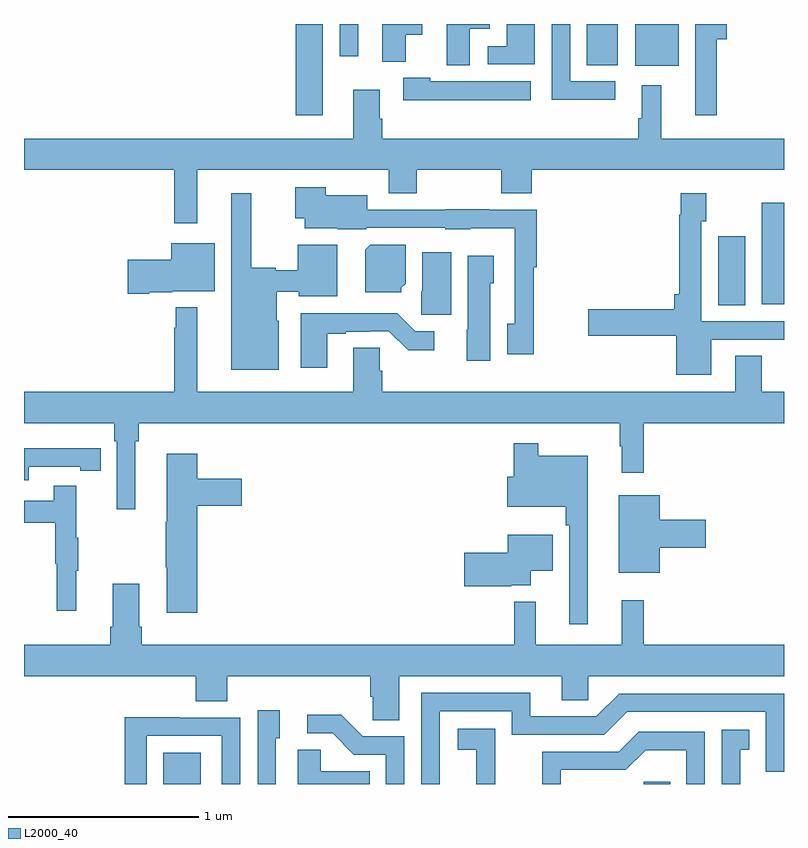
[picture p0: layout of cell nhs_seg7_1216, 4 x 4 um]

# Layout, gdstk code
import gdstk
lib = gdstk.Library(unit=1e-6, precision=1e-09)
def R(c, l, rs):  # rectangles x0, y0, x1, y1
    for r in rs: c.add(gdstk.rectangle(r[:2], r[2:], *l))
def P(c, l, *ps):  # polygons
    for p in ps: c.add(gdstk.Polygon(p, *l))
L2000_40 = (2000, 40)

nhs_seg7_1216 = lib.new_cell('nhs_seg7_1216')
R(nhs_seg7_1216, L2000_40, [(195.734,1048,195.931,1048.165), (198.261,1048,198.401,1048.011), (198.653,1050.52,198.796,1050.883), (198.884,1050.524,199,1051.06), (196.43,1051.521,196.573,1052), (198.218,1051.781,198.445,1052), (197.963,1051.783,198.124,1052), (196.662,1051.83,196.758,1052)])
P(nhs_seg7_1216, L2000_40, [(197.689,1052),(197.54,1052),(197.54,1051.884),(197.442,1051.884),(197.442,1051.788),(197.689,1051.788)],
  [(197.008,1051.943),(197.095,1051.943),(197.095,1052),(196.886,1052),(196.886,1051.802),(197.008,1051.802)],
  [(198.647,1051.919),(198.699,1051.919),(198.699,1052),(198.533,1052),(198.533,1051.521),(198.647,1051.521)],
  [(197.347,1051.976),(197.452,1051.976),(197.452,1052),(197.225,1052),(197.225,1051.784),(197.347,1051.784)],
  [(198.112,1051.698),(197.874,1051.698),(197.874,1052),(197.778,1052),(197.778,1051.601),(198.112,1051.601)],
  [(197.668,1051.699),(197.139,1051.699),(197.139,1051.717),(196.995,1051.717),(196.995,1051.598),(197.668,1051.598)],
  [(195.913,1051.232),(196.919,1051.232),(196.919,1051.108),(197.067,1051.108),(197.067,1051.232),(197.512,1051.232),(197.512,1051.108),(197.672,1051.108),(197.672,1051.232),(199,1051.232),(199,1051.396),(198.355,1051.396),(198.355,1051.678),(198.251,1051.678),(198.251,1051.505),(198.234,1051.505),(198.234,1051.396),(196.886,1051.396),(196.886,1051.502),(196.873,1051.502),(196.873,1051.654),(196.733,1051.654),(196.733,1051.396),(195,1051.396),(195,1051.232),(195.792,1051.232),(195.792,1050.951),(195.913,1050.951)],
  [(197.684,1050.72),(197.699,1050.72),(197.699,1051.023),(197.449,1051.023),(197.449,1051.025),(197.217,1051.025),(197.217,1051.023),(196.807,1051.023),(196.807,1051.099),(196.588,1051.099),(196.588,1051.141),(196.427,1051.141),(196.427,1050.977),(196.478,1050.977),(196.478,1050.926),(196.65,1050.926),(196.65,1050.92),(196.8,1050.92),(196.8,1050.927),(197.217,1050.927),(197.217,1050.92),(197.349,1050.92),(197.349,1050.926),(197.583,1050.926),(197.583,1050.422),(197.543,1050.422),(197.543,1050.261),(197.684,1050.261)],
  [(198.616,1050.339),(199,1050.339),(199,1050.435),(198.564,1050.435),(198.564,1050.963),(198.591,1050.963),(198.591,1051.108),(198.456,1051.108),(198.456,1050.995),(198.448,1050.995),(198.448,1050.577),(198.422,1050.577),(198.422,1050.5),(197.97,1050.5),(197.97,1050.358),(198.434,1050.358),(198.434,1050.155),(198.616,1050.155)],
  [(196.342,1050.438),(196.33,1050.438),(196.33,1050.591),(196.446,1050.591),(196.446,1050.566),(196.648,1050.566),(196.648,1050.838),(196.442,1050.838),(196.442,1050.705),(196.326,1050.705),(196.326,1050.716),(196.195,1050.716),(196.195,1051.108),(196.091,1051.108),(196.091,1050.179),(196.342,1050.179)],
  [(195.658,1050.587),(195.78,1050.587),(195.78,1050.593),(196.003,1050.593),(196.003,1050.847),(195.776,1050.847),(195.776,1050.759),(195.546,1050.759),(195.546,1050.581),(195.658,1050.581)],
  [(196.986,1050.612),(197.008,1050.634),(197.008,1050.838),(196.822,1050.838),(196.796,1050.812),(196.796,1050.587),(196.986,1050.587)],
  [(197.248,1050.799),(197.096,1050.799),(197.096,1050.594),(197.092,1050.594),(197.092,1050.471),(197.248,1050.471)],
  [(197.455,1050.636),(197.473,1050.636),(197.473,1050.781),(197.336,1050.781),(197.336,1050.39),(197.33,1050.39),(197.33,1050.228),(197.455,1050.228)],
  [(198.135,1049.777),(198.146,1049.777),(198.146,1049.637),(198.263,1049.637),(198.263,1049.9),(199,1049.9),(199,1050.064),(198.883,1050.064),(198.883,1050.254),(198.743,1050.254),(198.743,1050.064),(196.886,1050.064),(196.886,1050.174),(196.872,1050.174),(196.872,1050.296),(196.733,1050.296),(196.733,1050.064),(195.913,1050.064),(195.913,1050.508),(195.799,1050.508),(195.799,1050.401),(195.792,1050.401),(195.792,1050.064),(195,1050.064),(195,1049.9),(195.476,1049.9),(195.476,1049.804),(195.489,1049.804),(195.489,1049.445),(195.586,1049.445),(195.586,1049.804),(195.605,1049.804),(195.605,1049.9),(198.135,1049.9)],
  [(196.597,1050.369),(196.693,1050.369),(196.693,1050.381),(196.82,1050.381),(196.82,1050.384),(196.92,1050.384),(197.023,1050.282),(197.158,1050.282),(197.158,1050.384),(197.058,1050.384),(196.964,1050.478),(196.457,1050.478),(196.457,1050.192),(196.597,1050.192)],
  [(197.968,1049.728),(197.707,1049.728),(197.707,1049.794),(197.578,1049.794),(197.578,1049.617),(197.544,1049.617),(197.544,1049.459),(197.851,1049.459),(197.851,1049.363),(197.871,1049.363),(197.871,1048.842),(197.968,1048.842)],
  [(195.024,1049.67),(195.296,1049.67),(195.296,1049.65),(195.404,1049.65),(195.404,1049.766),(195.296,1049.766),(195.296,1049.767),(195,1049.767),(195,1049.598),(195.024,1049.598)],
  [(195.911,1049.465),(196.147,1049.465),(196.147,1049.607),(195.911,1049.607),(195.911,1049.737),(195.752,1049.737),(195.752,1049.381),(195.745,1049.381),(195.745,1049.14),(195.752,1049.14),(195.752,1048.902),(195.911,1048.902)],
  [(195.275,1049.123),(195.286,1049.123),(195.286,1049.297),(195.275,1049.297),(195.275,1049.569),(195.157,1049.569),(195.157,1049.49),(195,1049.49),(195,1049.374),(195.165,1049.374),(195.165,1049.16),(195.172,1049.16),(195.172,1048.911),(195.275,1048.911)],
  [(198.346,1049.243),(198.589,1049.243),(198.589,1049.39),(198.346,1049.39),(198.346,1049.521),(198.131,1049.521),(198.131,1049.111),(198.346,1049.111)],
  [(197.564,1049.045),(197.668,1049.045),(197.668,1049.123),(197.782,1049.123),(197.782,1049.311),(197.546,1049.311),(197.546,1049.216),(197.316,1049.216),(197.316,1049.04),(197.564,1049.04)],
  [(196.975,1048.568),(197.831,1048.568),(197.831,1048.441),(197.97,1048.441),(197.97,1048.568),(199,1048.568),(199,1048.732),(198.263,1048.732),(198.263,1048.966),(198.146,1048.966),(198.146,1048.732),(197.693,1048.732),(197.693,1048.96),(197.579,1048.96),(197.579,1048.732),(195.62,1048.732),(195.62,1048.828),(195.607,1048.828),(195.607,1049.053),(195.467,1049.053),(195.467,1048.828),(195.455,1048.828),(195.455,1048.732),(195,1048.732),(195,1048.568),(195.905,1048.568),(195.905,1048.435),(196.07,1048.435),(196.07,1048.568),(196.823,1048.568),(196.823,1048.459),(196.836,1048.459),(196.836,1048.336),(196.975,1048.336)],
  [(197.187,1048.383),(197.568,1048.383),(197.568,1048.26),(198.054,1048.26),(198.174,1048.38),(198.903,1048.38),(198.903,1048.065),(199,1048.065),(199,1048.476),(198.132,1048.476),(198.012,1048.356),(197.665,1048.356),(197.665,1048.479),(197.091,1048.479),(197.091,1048),(197.187,1048)],
  [(196.326,1048.242),(196.345,1048.242),(196.345,1048.387),(196.23,1048.387),(196.23,1048),(196.326,1048)],
  [(197.001,1048.251),(196.782,1048.251),(196.669,1048.364),(196.491,1048.364),(196.491,1048.266),(196.625,1048.266),(196.736,1048.155),(196.905,1048.155),(196.905,1048),(197.001,1048)],
  [(195.645,1048.254),(196.041,1048.254),(196.041,1048),(196.137,1048),(196.137,1048.35),(195.821,1048.35),(195.821,1048.352),(195.529,1048.352),(195.529,1048),(195.645,1048)],
  [(197.48,1048.085),(197.481,1048.085),(197.481,1048.291),(197.283,1048.291),(197.283,1048.181),(197.381,1048.181),(197.381,1048),(197.48,1048)],
  [(198.769,1048.179),(198.818,1048.179),(198.818,1048.285),(198.672,1048.285),(198.672,1048),(198.769,1048)],
  [(197.826,1048.074),(198.168,1048.074),(198.272,1048.178),(198.486,1048.178),(198.486,1048),(198.582,1048),(198.582,1048.275),(198.236,1048.275),(198.131,1048.17),(197.728,1048.17),(197.728,1048),(197.826,1048)],
  [(196.82,1048.066),(196.563,1048.066),(196.563,1048.181),(196.442,1048.181),(196.442,1048),(196.82,1048)])

lib.write_gds('nhs_seg7_1216.gds')
